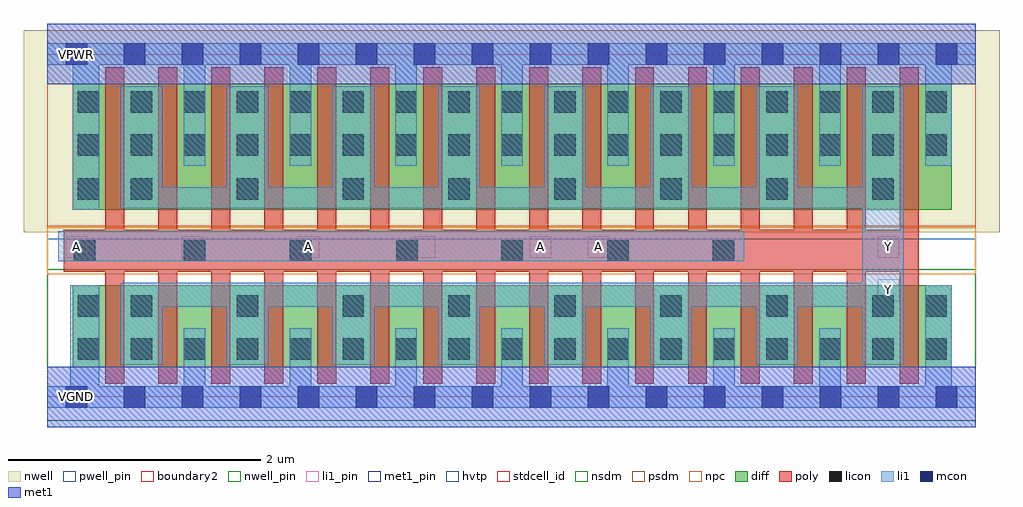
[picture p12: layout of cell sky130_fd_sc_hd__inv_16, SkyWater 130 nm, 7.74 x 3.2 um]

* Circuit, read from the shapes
.subckt sky130_fd_sc_hd__inv_16 A VGND VNB VPB VPWR Y
XM1 Y A VGND VNB sky130_fd_pr__nfet_01v8 w=0.65 l=0.15 m=16
XM2 Y A VPWR VPB sky130_fd_pr__pfet_01v8_hvt w=1 l=0.15 m=16
.ends

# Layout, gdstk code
import gdstk
lib = gdstk.Library(unit=1e-6, precision=1e-09)
def R(c, l, rs):  # rectangles x0, y0, x1, y1
    for r in rs: c.add(gdstk.rectangle(r[:2], r[2:], *l))
def A(c, l, x, y, w, h, nx, ny, dx, dy):  # array of equal rectangles
    R(c, l, [(x+i*dx, y+j*dy, x+i*dx+w, y+j*dy+h) for i in range(nx) for j in range(ny)])
def P(c, l, *ps):  # polygons
    for p in ps: c.add(gdstk.Polygon(p, *l))
nwell_pin = (64, 16)
nwell = (64, 20)
diff = (65, 20)
poly = (66, 20)
licon = (66, 44)
li1_pin = (67, 16)
li1 = (67, 20)
mcon = (67, 44)
met1_pin = (68, 16)
met1 = (68, 20)
hvtp = (78, 44)
stdcell_id = (81, 4)
nsdm = (93, 44)
psdm = (94, 20)
npc = (95, 20)
pwell_pin = (122, 16)
boundary2 = (236, 0)

sky130_fd_sc_hd__inv_16 = lib.new_cell('sky130_fd_sc_hd__inv_16')
R(sky130_fd_sc_hd__inv_16, nwell_pin, [(0.145,2.635,0.315,2.805)])
R(sky130_fd_sc_hd__inv_16, nwell, [(-0.19,1.305,7.55,2.91)])
R(sky130_fd_sc_hd__inv_16, diff, [(0.2,0.235,7.17,0.885), (0.2,1.485,7.17,2.485)])
P(sky130_fd_sc_hd__inv_16, poly, [(0.46,0.105),(0.46,0.995),(0.13,0.995),(0.13,1.325),(0.46,1.325),(0.46,2.615),(0.61,2.615),(0.61,1.325),(0.88,1.325),(0.88,2.615),(1.03,2.615),(1.03,1.325),(1.3,1.325),(1.3,2.615),(1.45,2.615),(1.45,1.325),(1.72,1.325),(1.72,2.615),(1.87,2.615),(1.87,1.325),(2.14,1.325),(2.14,2.615),(2.29,2.615),(2.29,1.325),(2.56,1.325),(2.56,2.615),(2.71,2.615),(2.71,1.325),(2.98,1.325),(2.98,2.615),(3.13,2.615),(3.13,1.325),(3.4,1.325),(3.4,2.615),(3.55,2.615),(3.55,1.325),(3.82,1.325),(3.82,2.615),(3.97,2.615),(3.97,1.325),(4.24,1.325),(4.24,2.615),(4.39,2.615),(4.39,1.325),(4.66,1.325),(4.66,2.615),(4.81,2.615),(4.81,1.325),(5.08,1.325),(5.08,2.615),(5.23,2.615),(5.23,1.325),(5.5,1.325),(5.5,2.615),(5.65,2.615),(5.65,1.325),(5.92,1.325),(5.92,2.615),(6.07,2.615),(6.07,1.325),(6.34,1.325),(6.34,2.615),(6.49,2.615),(6.49,1.325),(6.76,1.325),(6.76,2.615),(6.91,2.615),(6.91,0.105),(6.76,0.105),(6.76,0.995),(6.49,0.995),(6.49,0.105),(6.34,0.105),(6.34,0.995),(6.07,0.995),(6.07,0.105),(5.92,0.105),(5.92,0.995),(5.65,0.995),(5.65,0.105),(5.5,0.105),(5.5,0.995),(5.23,0.995),(5.23,0.105),(5.08,0.105),(5.08,0.995),(4.81,0.995),(4.81,0.105),(4.66,0.105),(4.66,0.995),(4.39,0.995),(4.39,0.105),(4.24,0.105),(4.24,0.995),(3.97,0.995),(3.97,0.105),(3.82,0.105),(3.82,0.995),(3.55,0.995),(3.55,0.105),(3.4,0.105),(3.4,0.995),(3.13,0.995),(3.13,0.105),(2.98,0.105),(2.98,0.995),(2.71,0.995),(2.71,0.105),(2.56,0.105),(2.56,0.995),(2.29,0.995),(2.29,0.105),(2.14,0.105),(2.14,0.995),(1.87,0.995),(1.87,0.105),(1.72,0.105),(1.72,0.995),(1.45,0.995),(1.45,0.105),(1.3,0.105),(1.3,0.995),(1.03,0.995),(1.03,0.105),(0.88,0.105),(0.88,0.995),(0.61,0.995),(0.61,0.105)])
A(sky130_fd_sc_hd__inv_16, licon, 0.24, 0.295, 0.17, 0.17, 17, 2, 0.42, 1.62)
A(sky130_fd_sc_hd__inv_16, licon, 0.66, 0.635, 0.17, 0.17, 8, 2, 0.84, 0.93)
A(sky130_fd_sc_hd__inv_16, licon, 0.24, 2.255, 0.17, 0.17, 17, 1, 0.42, 0)
R(sky130_fd_sc_hd__inv_16, licon, [(0.24,0.635,0.41,0.805), (6.96,0.635,7.13,0.805), (0.21,1.075,0.38,1.245), (1.08,1.075,1.25,1.245), (1.92,1.075,2.09,1.245), (2.765,1.075,2.935,1.245), (3.6,1.075,3.77,1.245), (4.44,1.075,4.61,1.245), (5.275,1.075,5.445,1.245), (0.24,1.565,0.41,1.735)])
A(sky130_fd_sc_hd__inv_16, li1_pin, 0.145, 1.105, 0.17, 0.17, 5, 1, 0.92, 0)
R(sky130_fd_sc_hd__inv_16, li1_pin, [(6.585,0.765,6.755,0.935), (4.285,1.105,4.455,1.275), (6.585,1.105,6.755,1.275)])
R(sky130_fd_sc_hd__inv_16, li1, [(0.085,1.075,5.525,1.315)])
P(sky130_fd_sc_hd__inv_16, li1, [(0.2,1.485),(0.2,2.635),(0,2.635),(0,2.805),(7.36,2.805),(7.36,2.635),(7.17,2.635),(7.17,1.835),(6.96,1.835),(6.96,2.635),(6.29,2.635),(6.29,1.835),(6.12,1.835),(6.12,2.635),(5.45,2.635),(5.45,1.835),(5.28,1.835),(5.28,2.635),(4.61,2.635),(4.61,1.835),(4.44,1.835),(4.44,2.635),(3.77,2.635),(3.77,1.835),(3.6,1.835),(3.6,2.635),(2.93,2.635),(2.93,1.835),(2.76,1.835),(2.76,2.635),(2.09,2.635),(2.09,1.835),(1.92,1.835),(1.92,2.635),(1.25,2.635),(1.25,1.835),(1.08,1.835),(1.08,2.635),(0.41,2.635),(0.41,1.485)],
  [(0,-0.085),(0,0.085),(0.18,0.085),(0.18,0.885),(0.41,0.885),(0.41,0.085),(1.08,0.085),(1.08,0.545),(1.25,0.545),(1.25,0.085),(1.92,0.085),(1.92,0.545),(2.09,0.545),(2.09,0.085),(2.76,0.085),(2.76,0.545),(2.93,0.545),(2.93,0.085),(3.6,0.085),(3.6,0.545),(3.77,0.545),(3.77,0.085),(4.44,0.085),(4.44,0.545),(4.61,0.545),(4.61,0.085),(5.28,0.085),(5.28,0.545),(5.45,0.545),(5.45,0.085),(6.12,0.085),(6.12,0.545),(6.29,0.545),(6.29,0.085),(6.96,0.085),(6.96,0.885),(7.17,0.885),(7.17,0.085),(7.36,0.085),(7.36,-0.085)],
  [(0.58,0.255),(0.58,0.905),(6.46,0.905),(6.46,1.495),(0.58,1.495),(0.58,2.465),(0.91,2.465),(0.91,1.665),(1.42,1.665),(1.42,2.465),(1.75,2.465),(1.75,1.665),(2.26,1.665),(2.26,2.465),(2.59,2.465),(2.59,1.665),(3.1,1.665),(3.1,2.465),(3.43,2.465),(3.43,1.665),(3.94,1.665),(3.94,2.465),(4.27,2.465),(4.27,1.665),(4.78,1.665),(4.78,2.465),(5.11,2.465),(5.11,1.665),(5.62,1.665),(5.62,2.465),(5.95,2.465),(5.95,1.665),(6.46,1.665),(6.46,2.465),(6.79,2.465),(6.79,0.255),(6.46,0.255),(6.46,0.715),(5.95,0.715),(5.95,0.255),(5.62,0.255),(5.62,0.715),(5.11,0.715),(5.11,0.255),(4.78,0.255),(4.78,0.715),(4.27,0.715),(4.27,0.255),(3.94,0.255),(3.94,0.715),(3.43,0.715),(3.43,0.255),(3.1,0.255),(3.1,0.715),(2.59,0.715),(2.59,0.255),(2.26,0.255),(2.26,0.715),(1.75,0.715),(1.75,0.255),(1.42,0.255),(1.42,0.715),(0.91,0.715),(0.91,0.255)])
A(sky130_fd_sc_hd__inv_16, mcon, 0.145, -0.085, 0.17, 0.17, 16, 2, 0.46, 2.72)
R(sky130_fd_sc_hd__inv_16, met1_pin, [(0.145,-0.085,0.315,0.085), (0.145,2.635,0.315,2.805)])
R(sky130_fd_sc_hd__inv_16, hvtp, [(0,1.25,7.36,2.72)])
R(sky130_fd_sc_hd__inv_16, stdcell_id, [(0,0,7.36,2.72)])
R(sky130_fd_sc_hd__inv_16, nsdm, [(0,-0.19,7.36,1.015)])
R(sky130_fd_sc_hd__inv_16, psdm, [(0,1.355,7.36,2.91)])
R(sky130_fd_sc_hd__inv_16, npc, [(0,0.975,7.36,1.345)])
R(sky130_fd_sc_hd__inv_16, pwell_pin, [(0.145,-0.085,0.315,0.085)])
R(sky130_fd_sc_hd__inv_16, boundary2, [(0,0,7.36,2.72)])
sky130_fd_sc_hd__inv_16.add(gdstk.FlexPath([(0,0),(7.36,0)], 0.48, ends="flush", simple_path=True, layer=68, datatype=20))  # met1
sky130_fd_sc_hd__inv_16.add(gdstk.FlexPath([(0,2.72),(7.36,2.72)], 0.48, ends="flush", simple_path=True, layer=68, datatype=20))  # met1
sky130_fd_sc_hd__inv_16.add(gdstk.Label('VPWR', (0.23,2.72), layer=68, texttype=5))
sky130_fd_sc_hd__inv_16.add(gdstk.Label('VGND', (0.23,0), layer=68, texttype=5))
sky130_fd_sc_hd__inv_16.add(gdstk.Label('VPB', (0.23,2.72), layer=64, texttype=5))
sky130_fd_sc_hd__inv_16.add(gdstk.Label('VNB', (0.23,0), layer=64, texttype=59))
sky130_fd_sc_hd__inv_16.add(gdstk.Label('inv_16', (0,0), layer=83, texttype=44))
sky130_fd_sc_hd__inv_16.add(gdstk.Label('A', (0.23,1.19), layer=67, texttype=5))
sky130_fd_sc_hd__inv_16.add(gdstk.Label('A', (2.07,1.19), layer=67, texttype=5))
sky130_fd_sc_hd__inv_16.add(gdstk.Label('A', (3.91,1.19), layer=67, texttype=5))
sky130_fd_sc_hd__inv_16.add(gdstk.Label('A', (4.37,1.19), layer=67, texttype=5))
sky130_fd_sc_hd__inv_16.add(gdstk.Label('Y', (6.67,0.85), layer=67, texttype=5))
sky130_fd_sc_hd__inv_16.add(gdstk.Label('Y', (6.67,1.19), layer=67, texttype=5))

lib.write_gds('sky130_fd_sc_hd__inv_16.gds')
